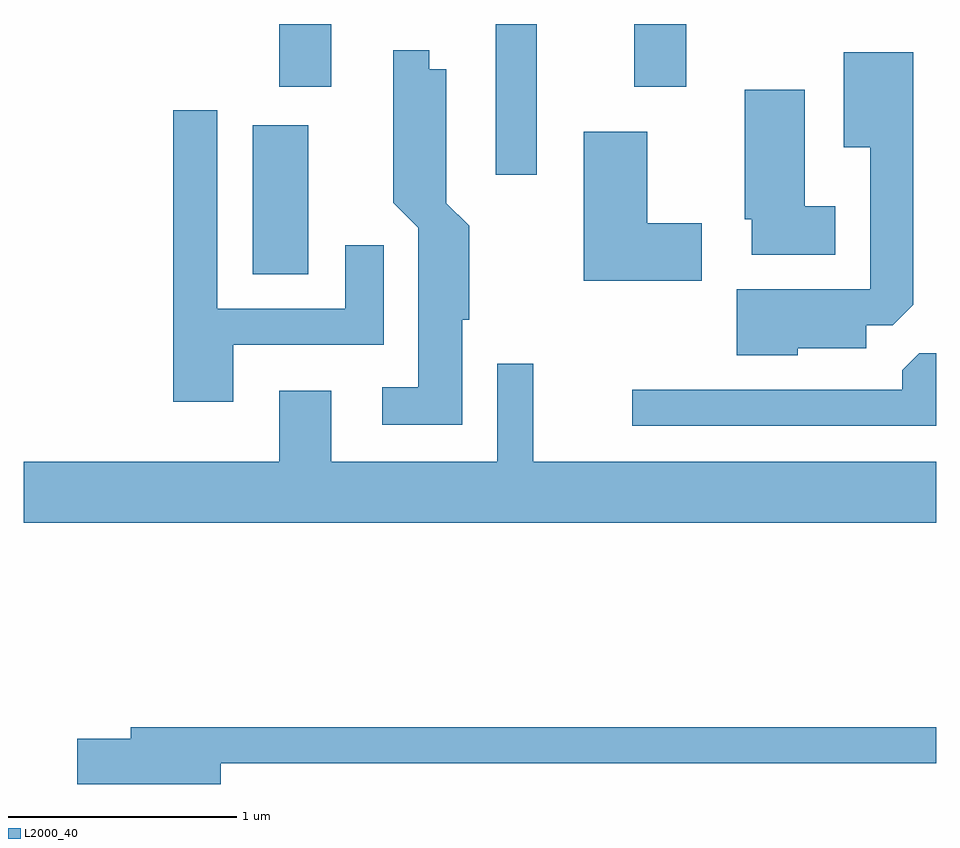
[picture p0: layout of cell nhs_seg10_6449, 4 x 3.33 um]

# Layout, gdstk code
import gdstk
lib = gdstk.Library(unit=1e-6, precision=1e-09)
def R(c, l, rs):  # rectangles x0, y0, x1, y1
    for r in rs: c.add(gdstk.rectangle(r[:2], r[2:], *l))
def P(c, l, *ps):  # polygons
    for p in ps: c.add(gdstk.Polygon(p, *l))
L2000_40 = (2000, 40)

nhs_seg10_6449 = lib.new_cell('nhs_seg10_6449')
R(nhs_seg10_6449, L2000_40, [(376.616,2139.426,376.859,2140.079), (377.681,2139.861,377.859,2140.522), (376.731,2140.246,376.959,2140.522), (378.286,2140.246,378.514,2140.522)])
P(nhs_seg10_6449, L2000_40, [(377.534,2139.226),(377.564,2139.226),(377.564,2139.637),(377.464,2139.737),(377.464,2140.324),(377.389,2140.324),(377.389,2140.408),(377.231,2140.408),(377.231,2139.739),(377.341,2139.629),(377.341,2138.929),(377.183,2138.929),(377.183,2138.766),(377.534,2138.766)],
  [(379.004,2139.101),(379.304,2139.101),(379.304,2139.201),(379.419,2139.201),(379.509,2139.292),(379.509,2140.399),(379.206,2140.399),(379.206,2139.981),(379.321,2139.981),(379.321,2139.359),(378.736,2139.359),(378.736,2139.071),(379.004,2139.071)],
  [(379.169,2139.724),(379.034,2139.724),(379.034,2140.234),(378.771,2140.234),(378.771,2139.666),(378.801,2139.666),(378.801,2139.511),(379.169,2139.511)],
  [(376.529,2139.116),(377.189,2139.116),(377.189,2139.553),(377.021,2139.553),(377.021,2139.274),(376.459,2139.274),(376.459,2140.144),(376.266,2140.144),(376.266,2138.866),(376.529,2138.866)],
  [(378.584,2139.649),(378.344,2139.649),(378.344,2140.049),(378.066,2140.049),(378.066,2139.396),(378.584,2139.396)],
  [(379.611,2139.079),(379.537,2139.079),(379.461,2139.004),(379.461,2138.919),(378.278,2138.919),(378.278,2138.761),(379.611,2138.761)],
  [(379.611,2138.604),(377.844,2138.604),(377.844,2139.033),(377.686,2139.033),(377.686,2138.604),(376.959,2138.604),(376.959,2138.914),(376.731,2138.914),(376.731,2138.604),(375.611,2138.604),(375.611,2138.336),(379.611,2138.336)],
  [(376.474,2137.281),(379.611,2137.281),(379.611,2137.439),(376.081,2137.439),(376.081,2137.389),(375.846,2137.389),(375.846,2137.191),(376.474,2137.191)])

lib.write_gds('nhs_seg10_6449.gds')
